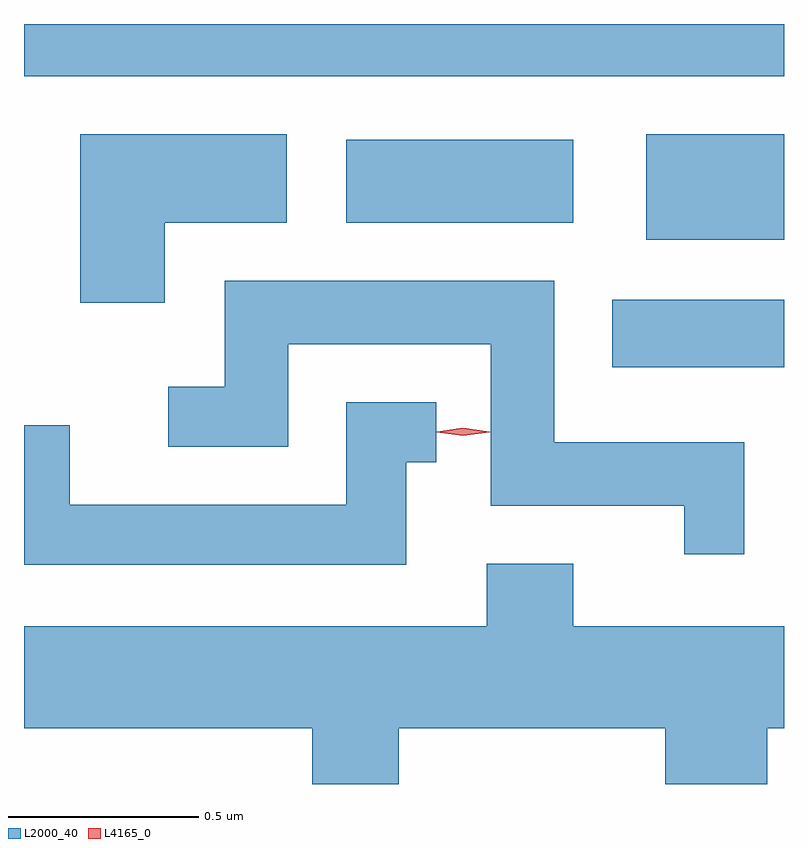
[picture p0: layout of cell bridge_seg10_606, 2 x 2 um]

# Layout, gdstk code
import gdstk
lib = gdstk.Library(unit=1e-6, precision=1e-09)
def R(c, l, rs):  # rectangles x0, y0, x1, y1
    for r in rs: c.add(gdstk.rectangle(r[:2], r[2:], *l))
def P(c, l, *ps):  # polygons
    for p in ps: c.add(gdstk.Polygon(p, *l))
L2000_40 = (2000, 40)
L4165_0 = (4165, 0)

bridge_seg10_606 = lib.new_cell('bridge_seg10_606')
R(bridge_seg10_606, L2000_40, [(661.121,2159.266,661.573,2159.444), (661.211,2159.601,661.573,2159.879), (660.421,2159.646,661.019,2159.864), (659.573,2160.031,661.573,2160.169)])
P(bridge_seg10_606, L2000_40, [(659.944,2159.646),(660.264,2159.646),(660.264,2159.879),(659.721,2159.879),(659.721,2159.436),(659.944,2159.436)],
  [(661.469,2159.069),(660.969,2159.069),(660.969,2159.494),(660.101,2159.494),(660.101,2159.214),(659.953,2159.214),(659.953,2159.056),(660.269,2159.056),(660.269,2159.326),(660.801,2159.326),(660.801,2158.901),(661.311,2158.901),(661.311,2158.773),(661.469,2158.773)],
  [(660.579,2159.016),(660.658,2159.016),(660.658,2159.174),(660.421,2159.174),(660.421,2158.904),(659.694,2158.904),(659.694,2159.113),(659.573,2159.113),(659.573,2158.746),(660.579,2158.746)],
  [(660.559,2158.316),(661.261,2158.316),(661.261,2158.169),(661.529,2158.169),(661.529,2158.316),(661.573,2158.316),(661.573,2158.584),(661.019,2158.584),(661.019,2158.749),(660.791,2158.749),(660.791,2158.584),(659.573,2158.584),(659.573,2158.316),(660.331,2158.316),(660.331,2158.169),(660.559,2158.169)])
P(bridge_seg10_606, L4165_0, [(660.728,2159.086),(660.659,2159.095),(660.659,2159.095),(660.659,2159.096),(660.728,2159.106),(660.798,2159.096),(660.798,2159.096),(660.798,2159.095)])

lib.write_gds('bridge_seg10_606.gds')
